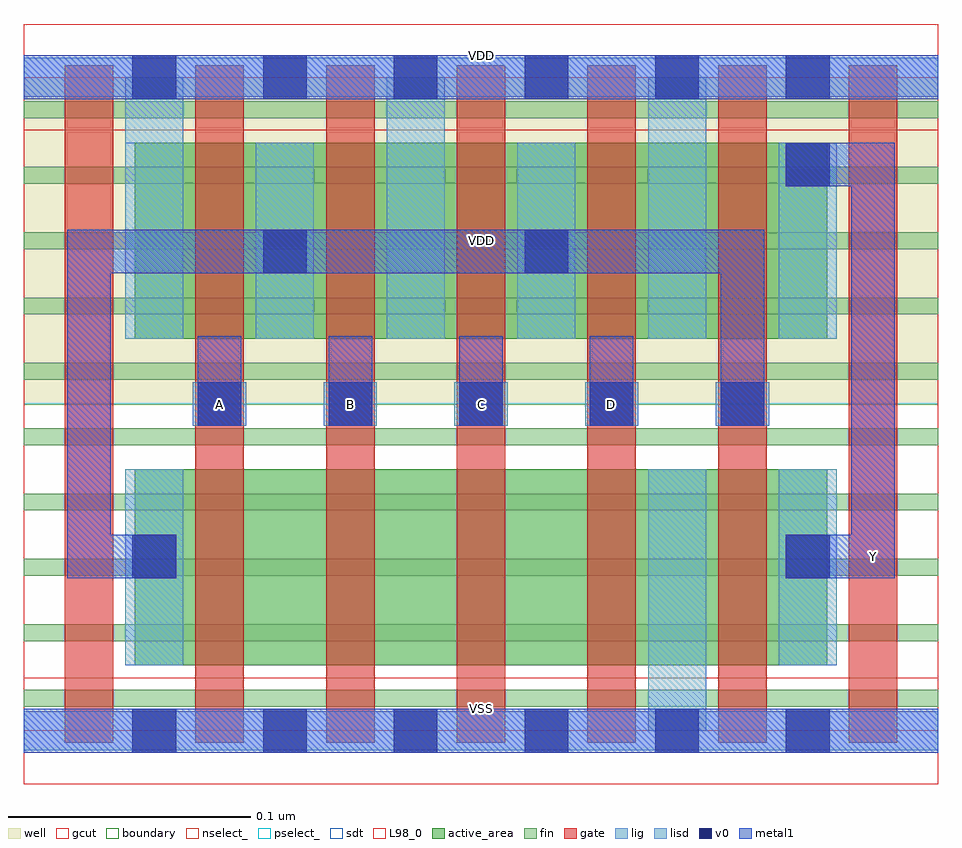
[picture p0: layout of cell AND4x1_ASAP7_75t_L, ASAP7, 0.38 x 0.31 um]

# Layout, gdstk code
import gdstk
lib = gdstk.Library(unit=1e-6, precision=2.5e-10)
def R(c, l, rs):  # rectangles x0, y0, x1, y1
    for r in rs: c.add(gdstk.rectangle(r[:2], r[2:], *l))
def A(c, l, x, y, w, h, nx, ny, dx, dy):  # array of equal rectangles
    R(c, l, [(x+i*dx, y+j*dy, x+i*dx+w, y+j*dy+h) for i in range(nx) for j in range(ny)])
def P(c, l, *ps):  # polygons
    for p in ps: c.add(gdstk.Polygon(p, *l))
well = (1, 0)
fin = (2, 0)
gate = (7, 0)
gcut = (10, 0)
active_area = (11, 0)
nselect_ = (12, 0)
pselect_ = (13, 0)
lig = (16, 0)
lisd = (17, 0)
v0 = (18, 0)
metal1 = (19, 0)
sdt = (88, 0)
L98_0 = (98, 0)
boundary = (100, 0)

and4x1_asap7_75t_l = lib.new_cell('AND4x1_ASAP7_75t_L')
R(and4x1_asap7_75t_l, well, [(0,0.135,0.378,0.27)])
A(and4x1_asap7_75t_l, fin, 0, 0.01, 0.378, 0.007, 1, 10, 0, 0.027)
A(and4x1_asap7_75t_l, gate, 0.017, -0.005, 0.02, 0.28, 7, 1, 0.054, 0)
R(and4x1_asap7_75t_l, gcut, [(0,-0.022,0.378,0.022), (0,0.248,0.378,0.292)])
R(and4x1_asap7_75t_l, active_area, [(0.046,0.027,0.332,0.108), (0.046,0.162,0.332,0.243)])
R(and4x1_asap7_75t_l, nselect_, [(0,0,0.378,0.135)])
R(and4x1_asap7_75t_l, pselect_, [(0,0.135,0.378,0.27)])
A(and4x1_asap7_75t_l, lig, 0.07, 0.126, 0.022, 0.018, 5, 1, 0.054, 0)
R(and4x1_asap7_75t_l, lig, [(0,-0.008,0.378,0.008), (0,0.262,0.378,0.278)])
A(and4x1_asap7_75t_l, lisd, 0.096, 0.162, 0.024, 0.081, 3, 1, 0.108, 0)
R(and4x1_asap7_75t_l, lisd, [(0.258,0,0.282,0.108), (0.258,0,0.282,0.108), (0.042,0.027,0.066,0.108), (0.312,0.027,0.336,0.108), (0.042,0.162,0.066,0.27), (0.042,0.162,0.066,0.27), (0.15,0.162,0.174,0.27), (0.15,0.162,0.174,0.27), (0.258,0.162,0.282,0.27), (0.258,0.162,0.282,0.27)])
A(and4x1_asap7_75t_l, v0, 0.045, -0.009, 0.018, 0.018, 6, 2, 0.054, 0.27)
A(and4x1_asap7_75t_l, v0, 0.072, 0.126, 0.018, 0.018, 5, 1, 0.054, 0)
R(and4x1_asap7_75t_l, v0, [(0.045,0.063,0.063,0.081), (0.315,0.063,0.333,0.081), (0.099,0.189,0.117,0.207), (0.207,0.189,0.225,0.207), (0.315,0.225,0.333,0.243)])
A(and4x1_asap7_75t_l, metal1, 0.072, 0.126, 0.018, 0.018, 5, 1, 0.054, 0)
A(and4x1_asap7_75t_l, metal1, 0.072, 0.126, 0.018, 0.037, 4, 1, 0.054, 0)
R(and4x1_asap7_75t_l, metal1, [(0,-0.009,0.378,0.009), (0.045,0.063,0.063,0.081), (0.315,0.063,0.333,0.081), (0.099,0.189,0.117,0.207), (0.207,0.189,0.225,0.207), (0.315,0.225,0.333,0.243), (0,0.261,0.378,0.279)])
P(and4x1_asap7_75t_l, metal1, [(0.306,0.126),(0.306,0.207),(0.018,0.207),(0.018,0.063),(0.063,0.063),(0.063,0.081),(0.036,0.081),(0.036,0.189),(0.288,0.189),(0.288,0.126)],
  [(0.315,0.243),(0.315,0.225),(0.342,0.225),(0.342,0.081),(0.315,0.081),(0.315,0.063),(0.36,0.063),(0.36,0.243)])
A(and4x1_asap7_75t_l, sdt, 0.042, 0.162, 0.024, 0.081, 3, 1, 0.054, 0)
A(and4x1_asap7_75t_l, sdt, 0.15, 0.162, 0.024, 0.081, 3, 1, 0.054, 0)
R(and4x1_asap7_75t_l, sdt, [(0.042,0.027,0.066,0.108), (0.258,0.027,0.282,0.108), (0.258,0.027,0.282,0.108), (0.312,0.027,0.336,0.108), (0.042,0.162,0.066,0.243), (0.258,0.162,0.282,0.243), (0.312,0.162,0.336,0.243)])
R(and4x1_asap7_75t_l, L98_0, [(0,0,0.378,0.27)])
R(and4x1_asap7_75t_l, boundary, [(0,0,0.378,0.27)])
and4x1_asap7_75t_l.add(gdstk.Label('VDD', (0.189,0.2025), layer=1, texttype=251))
and4x1_asap7_75t_l.add(gdstk.Label('VSS', (0.189,-0.0675), layer=3, texttype=251))
and4x1_asap7_75t_l.add(gdstk.Label('VSS', (0.189,0.009), layer=19, texttype=251))
and4x1_asap7_75t_l.add(gdstk.Label('VDD', (0.189,0.279), layer=19, texttype=251))
and4x1_asap7_75t_l.add(gdstk.Label('A', (0.081,0.135), layer=19, texttype=251))
and4x1_asap7_75t_l.add(gdstk.Label('B', (0.135,0.135), layer=19, texttype=251))
and4x1_asap7_75t_l.add(gdstk.Label('C', (0.189,0.135), layer=19, texttype=251))
and4x1_asap7_75t_l.add(gdstk.Label('D', (0.243,0.135), layer=19, texttype=251))
and4x1_asap7_75t_l.add(gdstk.Label('Y', (0.351,0.072), layer=19, texttype=251))

lib.write_gds('AND4x1_ASAP7_75t_L.gds')
